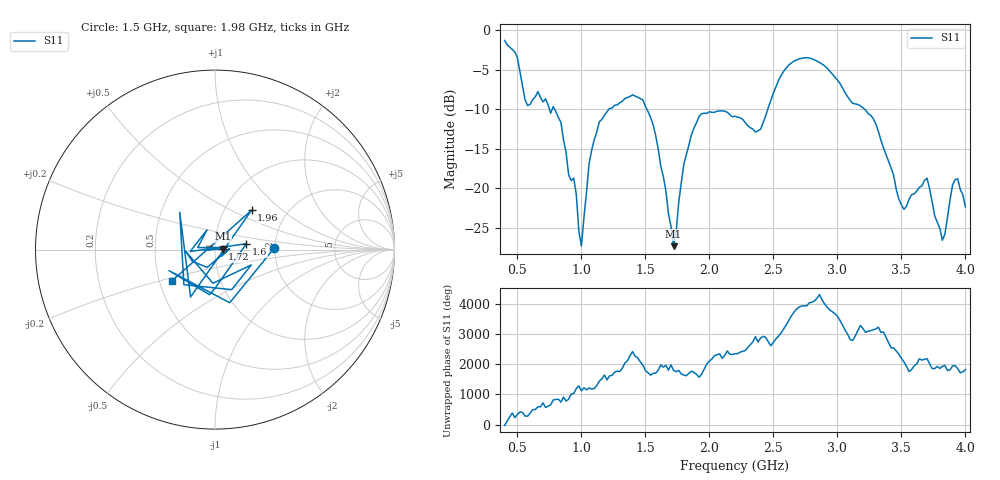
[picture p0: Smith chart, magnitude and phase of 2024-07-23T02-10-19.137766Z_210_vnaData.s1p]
!Created with skrf (http://scikit-rf.org).
# Hz S RI R 50.0
!freq ReS11 ImS11
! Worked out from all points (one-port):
!   181 points, 400 MHz to 4 GHz, reference 50 ohm
!   lowest |S11| = -27.3 dB at 1.72 GHz (marker M1), VSWR 1.09, Z = 54.5 + j0.488 ohm
!   |S11| at or under -10 dB: 791.6 MHz to 1.214 GHz (422.6 MHz wide, 42.1 % of centre); 1.512 GHz to 2.455 GHz (943.6 MHz wide, 47.6 % of centre); 3.214 GHz to end of sweep (the widest 3 of 4)
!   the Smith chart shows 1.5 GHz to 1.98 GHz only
!   S11 on the Smith chart (normalised r, x): 1.5 GHz: 1.98, +0.04; 1.6 GHz: 1.42, +0.10; 1.72 GHz: 1.09, +0.01; 1.96 GHz: 1.33, +0.64; 1.98 GHz: 0.58, -0.22
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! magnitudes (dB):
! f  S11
! 400 MHz  -1.3
! 500 MHz  -3.5
! 580 MHz  -9.5
! 720 MHz  -8.7
! 860 MHz  -13.8
! 940 MHz  -18.7
! 1 GHz  -27.3
! 1.06 GHz  -16.9
! 1.1 GHz  -13.8
! 1.3 GHz  -9.1
! 1.5 GHz  -9.6
! 1.6 GHz  -15.0
! 1.72 GHz  -27.3
! 1.76 GHz  -21.8
! 1.86 GHz  -13.2
! 1.96 GHz  -10.5
! 1.98 GHz  -10.5
! 2.2 GHz  -10.9
! 2.4 GHz  -12.5
! 2.66 GHz  -3.9
! 3.1 GHz  -8.9
! 3.28 GHz  -11.2
! 3.5 GHz  -22.1
! 3.56 GHz  -21.4
! 3.7 GHz  -18.7
! 3.82 GHz  -26.6
! 3.92 GHz  -18.9
! 4 GHz  -22.3
